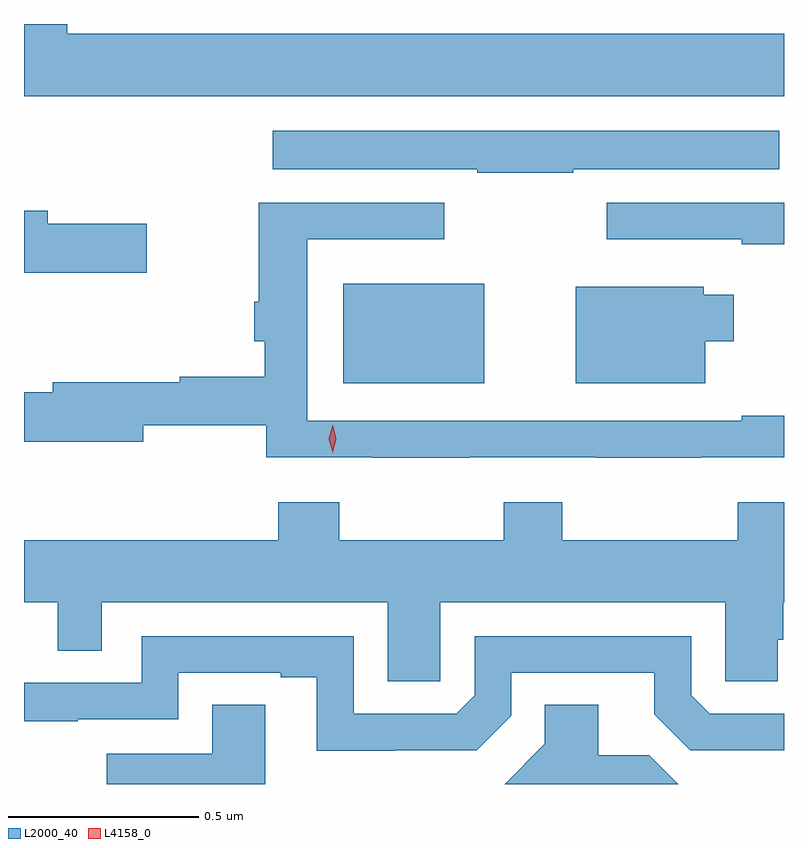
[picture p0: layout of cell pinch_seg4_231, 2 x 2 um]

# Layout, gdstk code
import gdstk
lib = gdstk.Library(unit=1e-6, precision=1e-09)
def R(c, l, rs):  # rectangles x0, y0, x1, y1
    for r in rs: c.add(gdstk.rectangle(r[:2], r[2:], *l))
def P(c, l, *ps):  # polygons
    for p in ps: c.add(gdstk.Polygon(p, *l))
L2000_40 = (2000, 40)
L4158_0 = (4158, 0)

pinch_seg4_231 = lib.new_cell('pinch_seg4_231')
R(pinch_seg4_231, L2000_40, [(997.196,816.044,997.567,816.307)])
P(pinch_seg4_231, L2000_40, [(996.356,816.99),(996.356,816.8),(998.356,816.8),(998.356,816.964),(996.47,816.964),(996.47,816.99)],
  [(997.802,816.608),(998.344,816.608),(998.344,816.709),(997.011,816.709),(997.011,816.608),(997.549,816.608),(997.549,816.598),(997.802,816.598)],
  [(997.529,815.85),(997.861,815.85),(997.861,815.849),(998.138,815.849),(998.138,815.85),(998.356,815.85),(998.356,815.959),(998.245,815.959),(998.245,815.946),(997.101,815.946),(997.101,816.423),(997.462,816.423),(997.462,816.519),(996.974,816.519),(996.974,816.259),(996.962,816.259),(996.962,816.155),(996.989,816.155),(996.989,816.062),(996.766,816.062),(996.766,816.047),(996.431,816.047),(996.431,816.021),(996.356,816.021),(996.356,815.891),(996.67,815.891),(996.67,815.934),(996.993,815.934),(996.993,815.85),(997.273,815.85),(997.273,815.849),(997.529,815.849)],
  [(998.356,816.519),(997.89,816.519),(997.89,816.423),(998.245,816.423),(998.245,816.411),(998.356,816.411)],
  [(996.679,816.465),(996.418,816.465),(996.418,816.499),(996.356,816.499),(996.356,816.335),(996.679,816.335)],
  [(998.149,816.155),(998.224,816.155),(998.224,816.277),(998.145,816.277),(998.145,816.298),(997.808,816.298),(997.808,816.044),(998.149,816.044)],
  [(997.452,815.468),(998.202,815.468),(998.202,815.26),(998.339,815.26),(998.339,815.37),(998.354,815.37),(998.354,815.468),(998.356,815.468),(998.356,815.731),(998.234,815.731),(998.234,815.632),(997.773,815.632),(997.773,815.731),(997.618,815.731),(997.618,815.632),(997.185,815.632),(997.185,815.731),(997.025,815.731),(997.025,815.632),(996.356,815.632),(996.356,815.468),(996.445,815.468),(996.445,815.341),(996.561,815.341),(996.561,815.468),(997.313,815.468),(997.313,815.26),(997.452,815.26)],
  [(997.332,815.079),(997.548,815.079),(997.638,815.169),(997.638,815.283),(998.015,815.283),(998.015,815.173),(998.109,815.079),(998.356,815.079),(998.356,815.175),(998.16,815.175),(998.112,815.223),(998.112,815.379),(997.542,815.379),(997.542,815.223),(997.494,815.175),(997.224,815.175),(997.224,815.379),(996.666,815.379),(996.666,815.256),(996.356,815.256),(996.356,815.155),(996.497,815.155),(996.497,815.16),(996.762,815.16),(996.762,815.283),(997.031,815.283),(997.031,815.271),(997.127,815.271),(997.127,815.078),(997.332,815.078)],
  [(998.002,815.066),(997.867,815.066),(997.867,815.198),(997.727,815.198),(997.727,815.096),(997.621,814.99),(998.078,814.99)],
  [(996.991,815.198),(996.851,815.198),(996.851,815.07),(996.574,815.07),(996.574,814.99),(996.991,814.99)])
P(pinch_seg4_231, L4158_0, [(997.168,815.862),(997.168,815.863),(997.158,815.898),(997.168,815.934),(997.169,815.934),(997.169,815.934),(997.178,815.898),(997.168,815.863)])

lib.write_gds('pinch_seg4_231.gds')
